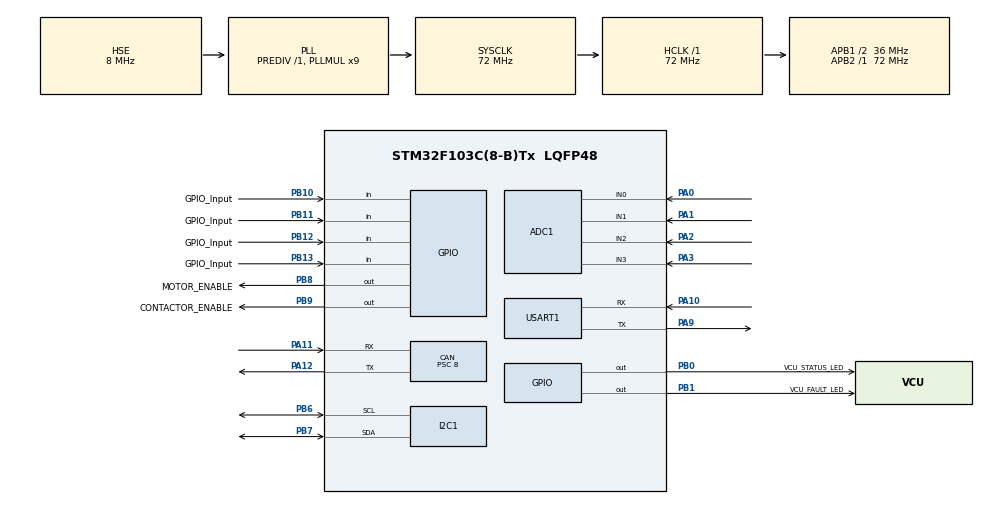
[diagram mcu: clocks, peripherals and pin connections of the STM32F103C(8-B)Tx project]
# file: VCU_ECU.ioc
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ADC1.Channel-0\#ChannelRegularConversion=ADC_CHANNEL_0
ADC1.Channel-1\#ChannelRegularConversion=ADC_CHANNEL_1
ADC1.Channel-2\#ChannelRegularConversion=ADC_CHANNEL_2
ADC1.Channel-3\#ChannelRegularConversion=ADC_CHANNEL_3
ADC1.NbrOfConversion=4
ADC1.NbrOfConversionFlag=1
ADC1.Rank-0\#ChannelRegularConversion=1
ADC1.Rank-1\#ChannelRegularConversion=2
ADC1.Rank-2\#ChannelRegularConversion=3
ADC1.Rank-3\#ChannelRegularConversion=4
ADC1.SamplingTime-0\#ChannelRegularConversion=ADC_SAMPLETIME_55CYCLES_5
ADC1.SamplingTime-1\#ChannelRegularConversion=ADC_SAMPLETIME_55CYCLES_5
ADC1.SamplingTime-2\#ChannelRegularConversion=ADC_SAMPLETIME_55CYCLES_5
ADC1.SamplingTime-3\#ChannelRegularConversion=ADC_SAMPLETIME_55CYCLES_5
ADC1.master=1
CAN.BS1=CAN_BS1_7TQ
CAN.CalculateBaudRate=500000
CAN.CalculateTimeBit=2000
CAN.CalculateTimeQuantum=222.22222222222223
CAN.NART=ENABLE
CAN.Prescaler=8
Mcu.Family=STM32F1
Mcu.Name=STM32F103C(8-B)Tx
Mcu.Package=LQFP48
NVIC.PriorityGroup=NVIC_PRIORITYGROUP_4
NVIC.USB_LP_CAN1_RX0_IRQn=true\:0\:0\:false\:false\:true\:true\:true\:true
PA0-WKUP.Signal=ADCx_IN0
PA1.Signal=ADCx_IN1
PA10.Mode=Asynchronous
PA10.Signal=USART1_RX
PA11.Mode=CAN_Activate
PA11.Signal=CAN_RX
PA12.Mode=CAN_Activate
PA12.Signal=CAN_TX
PA13.Mode=Serial_Wire
PA13.Signal=SYS_JTMS-SWDIO
PA14.Mode=Serial_Wire
PA14.Signal=SYS_JTCK-SWCLK
PA2.Signal=ADCx_IN2
PA3.Signal=ADCx_IN3
PA9.Mode=Asynchronous
PA9.Signal=USART1_TX
PB0.GPIO_Label=VCU_STATUS_LED
PB0.Signal=GPIO_Output
PB1.GPIO_Label=VCU_FAULT_LED
PB1.Signal=GPIO_Output
PB10.GPIO_Label=GPIO_Input
PB10.Signal=GPIO_Input
PB11.GPIO_Label=GPIO_Input
PB11.Signal=GPIO_Input
PB12.GPIO_Label=GPIO_Input
PB12.Signal=GPIO_Input
PB13.GPIO_Label=GPIO_Input
PB13.Signal=GPIO_Input
PB6.Mode=I2C
PB6.Signal=I2C1_SCL
PB7.Mode=I2C
PB7.Signal=I2C1_SDA
PB8.GPIO_Label=MOTOR_ENABLE
PB8.Signal=GPIO_Output
PB9.GPIO_Label=CONTACTOR_ENABLE
PB9.Signal=GPIO_Output
PD0-OSC_IN.Mode=HSE-External-Oscillator
PD0-OSC_IN.Signal=RCC_OSC_IN
PD1-OSC_OUT.Mode=HSE-External-Oscillator
PD1-OSC_OUT.Signal=RCC_OSC_OUT
ProjectManager.HeapSize=0x200
ProjectManager.StackSize=0x400
ProjectManager.TargetToolchain=STM32CubeIDE
RCC.ADCPresc=RCC_ADCPCLK2_DIV6
RCC.AHBFreq_Value=72000000
RCC.APB1CLKDivider=RCC_HCLK_DIV2
RCC.APB1Freq_Value=36000000
RCC.APB1TimFreq_Value=72000000
RCC.APB2Freq_Value=72000000
RCC.APB2TimFreq_Value=72000000
RCC.HCLKFreq_Value=72000000
RCC.PLLMUL=RCC_PLL_MUL9
RCC.PLLSourceVirtual=RCC_PLLSOURCE_HSE
RCC.SYSCLKFreq_VALUE=72000000
RCC.SYSCLKSource=RCC_SYSCLKSOURCE_PLLCLK
RCC.USBFreq_Value=72000000
SH.ADCx_IN0.0=ADC1_IN0,IN0
SH.ADCx_IN1.0=ADC1_IN1,IN1
SH.ADCx_IN2.0=ADC1_IN2,IN2
SH.ADCx_IN3.0=ADC1_IN3,IN3
USART1.VirtualMode=VM_ASYNC
board=custom

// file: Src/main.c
/* USER CODE BEGIN Header */
/**
  ******************************************************************************
  * @file           : main.c
  * @brief          : VCU ECU Main Program
  ******************************************************************************
  * @attention
  *
  * Copyright (c) 2026 STMicroelectronics.
  * All rights reserved.
  *
  ******************************************************************************
  */
/* USER CODE END Header */

#include "main.h"
#include "adc.h"
#include "can.h"
#include "i2c.h"
#include "usart.h"
#include "gpio.h"

/* USER CODE BEGIN Includes */

#include "vcu_config.h"
#include "vcu_data.h"
#include "vcu_debug.h"
#include "vcu_lcd.h"
#include "vcu_can.h"
#include "vcu_system.h"
/* USER CODE END Includes */

/* USER CODE BEGIN PV */

static uint32_t vcu_last_control_tick = 0U;
static uint32_t vcu_last_can_tick = 0U;
static uint32_t vcu_last_lcd_tick = 0U;
static uint32_t vcu_last_debug_tick = 0U;

/* USER CODE END PV */

void SystemClock_Config(void);

/* USER CODE BEGIN PFP */

static void VCU_Main_Update(void);

/* USER CODE END PFP */

int main(void)
{
  uint32_t current_tick;

  /* MCU Configuration--------------------------------------------------------*/

  HAL_Init();

  /* Configure the system clock */
  SystemClock_Config();

  /* Initialize all configured peripherals */
  MX_GPIO_Init();
  MX_ADC1_Init();
  MX_CAN_Init();
  MX_I2C1_Init();
  MX_USART1_UART_Init();

  /* USER CODE BEGIN 2 */

  /*
   * Initialize the complete VCU application.
   *
   * This initializes:
   *   - shared VCU data
   *   - ADC software layer
   *   - digital input layer
   *   - fault manager
   *   - state machine
   *   - CAN software layer
   */
  VCU_System_Init();

  /*
   * Initialize LCD and debug layers.
   */
  VCU_LCD_Init();
  VCU_Debug_Init();

  /*
   * Force all safety-critical outputs OFF at startup.
   */
  HAL_GPIO_WritePin(
      GPIOB,
      GPIO_PIN_0,
      GPIO_PIN_RESET);

  HAL_GPIO_WritePin(
      GPIOB,
      GPIO_PIN_1,
      GPIO_PIN_RESET);

  HAL_GPIO_WritePin(
      GPIOB,
      GPIO_PIN_8,
      GPIO_PIN_RESET);

  HAL_GPIO_WritePin(
      GPIOB,
      GPIO_PIN_9,
      GPIO_PIN_RESET);

  /*
   * Establish periodic task timestamps.
   */
  current_tick = HAL_GetTick();

  vcu_last_control_tick = current_tick;
  vcu_last_can_tick = current_tick;
  vcu_last_lcd_tick = current_tick;
  vcu_last_debug_tick = current_tick;

  VCU_Debug_SendString(
      "VCU ECU START\r\n");

  /* USER CODE END 2 */

  /* Infinite loop */
  while (1)
  {
    current_tick = HAL_GetTick();

    /*
     * =====================================================
     * 20 ms CONTROL TASK
     * =====================================================
     */
    if ((current_tick - vcu_last_control_tick) >=
        VCU_STATE_UPDATE_PERIOD_MS)
    {
      vcu_last_control_tick = current_tick;

      VCU_Main_Update();
    }

    /*
     * =====================================================
     * 20 ms CAN SUPERVISION
     * =====================================================
     */
    if ((current_tick - vcu_last_can_tick) >=
        VCU_CAN_UPDATE_PERIOD_MS)
    {
      vcu_last_can_tick = current_tick;

      VCU_CAN_Update();

      /*
       * Broadcast VCU status periodically.
       */
      (void)VCU_CAN_SendStatus();
    }

    /*
     * =====================================================
     * 500 ms LCD TASK
     * =====================================================
     */
    if ((current_tick - vcu_last_lcd_tick) >=
        VCU_LCD_UPDATE_PERIOD_MS)
    {
      vcu_last_lcd_tick = current_tick;

      if (VCU_LCD_IsReady() != 0U)
      {
        VCU_LCD_Update();
      }
    }

    /*
     * =====================================================
     * 1000 ms DEBUG TASK
     * =====================================================
     */
    if ((current_tick - vcu_last_debug_tick) >= 1000U)
    {
      vcu_last_debug_tick = current_tick;

      VCU_Debug_SendUInt(
          "STATE: ",
          (uint32_t)VCU_Data.system_state);

      VCU_Debug_SendUInt(
          "BMS COMM: ",
          (uint32_t)VCU_Data.bms.communication_valid);

      VCU_Debug_SendUInt(
          "MCU COMM: ",
          (uint32_t)VCU_Data.mcu.communication_valid);

      VCU_Debug_SendUInt(
          "FAULT: ",
          (uint32_t)VCU_Data.faults.code);
    }
  }
}

/* =========================================================
 * MAIN VCU CONTROL UPDATE
 * ========================================================= */

static void VCU_Main_Update(void)
{
  /*
   * Execute one complete VCU control cycle.
   */
  VCU_System_Update();
}

/* =========================================================
 * SYSTEM CLOCK CONFIGURATION
 * ========================================================= */

void SystemClock_Config(void)
{
  RCC_OscInitTypeDef RCC_OscInitStruct = {0};
  RCC_ClkInitTypeDef RCC_ClkInitStruct = {0};
  RCC_PeriphCLKInitTypeDef PeriphClkInit = {0};

  /*
   * HSE = 8 MHz
   * PLL = HSE × 9
   * SYSCLK = 72 MHz
   */
  RCC_OscInitStruct.OscillatorType =
      RCC_OSCILLATORTYPE_HSE;

  RCC_OscInitStruct.HSEState =
      RCC_HSE_ON;

  RCC_OscInitStruct.HSEPredivValue =
      RCC_HSE_PREDIV_DIV1;

  RCC_OscInitStruct.HSIState =
      RCC_HSI_ON;

  RCC_OscInitStruct.PLL.PLLState =
      RCC_PLL_ON;

  RCC_OscInitStruct.PLL.PLLSource =
      RCC_PLLSOURCE_HSE;

  RCC_OscInitStruct.PLL.PLLMUL =
      RCC_PLL_MUL9;

  if (HAL_RCC_OscConfig(&RCC_OscInitStruct) != HAL_OK)
  {
    Error_Handler();
  }

  /*
   * AHB  = 72 MHz
   * APB1 = 36 MHz
   * APB2 = 72 MHz
   */
  RCC_ClkInitStruct.ClockType =
      RCC_CLOCKTYPE_HCLK |
      RCC_CLOCKTYPE_SYSCLK |
      RCC_CLOCKTYPE_PCLK1 |
      RCC_CLOCKTYPE_PCLK2;

  RCC_ClkInitStruct.SYSCLKSource =
      RCC_SYSCLKSOURCE_PLLCLK;

  RCC_ClkInitStruct.AHBCLKDivider =
      RCC_SYSCLK_DIV1;

  RCC_ClkInitStruct.APB1CLKDivider =
      RCC_HCLK_DIV2;

  RCC_ClkInitStruct.APB2CLKDivider =
      RCC_HCLK_DIV1;

  if (HAL_RCC_ClockConfig(
          &RCC_ClkInitStruct,
          FLASH_LATENCY_2) != HAL_OK)
  {
    Error_Handler();
  }

  /*
   * ADC clock = 72 MHz / 6 = 12 MHz
   */
  PeriphClkInit.PeriphClockSelection =
      RCC_PERIPHCLK_ADC;

  PeriphClkInit.AdcClockSelection =
      RCC_ADCPCLK2_DIV6;

  if (HAL_RCCEx_PeriphCLKConfig(
          &PeriphClkInit) != HAL_OK)
  {
    Error_Handler();
  }
}

/* =========================================================
 * ERROR HANDLER
 * ========================================================= */

void Error_Handler(void)
{
  __disable_irq();

  while (1)
  {
    /*
     * All safety-critical outputs OFF.
     */
    HAL_GPIO_WritePin(
        GPIOB,
        GPIO_PIN_8,
        GPIO_PIN_RESET);

    HAL_GPIO_WritePin(
        GPIOB,
        GPIO_PIN_9,
        GPIO_PIN_RESET);

    /*
     * Fault LED ON.
     */
    HAL_GPIO_WritePin(
        GPIOB,
        GPIO_PIN_1,
        GPIO_PIN_SET);
  }
}
